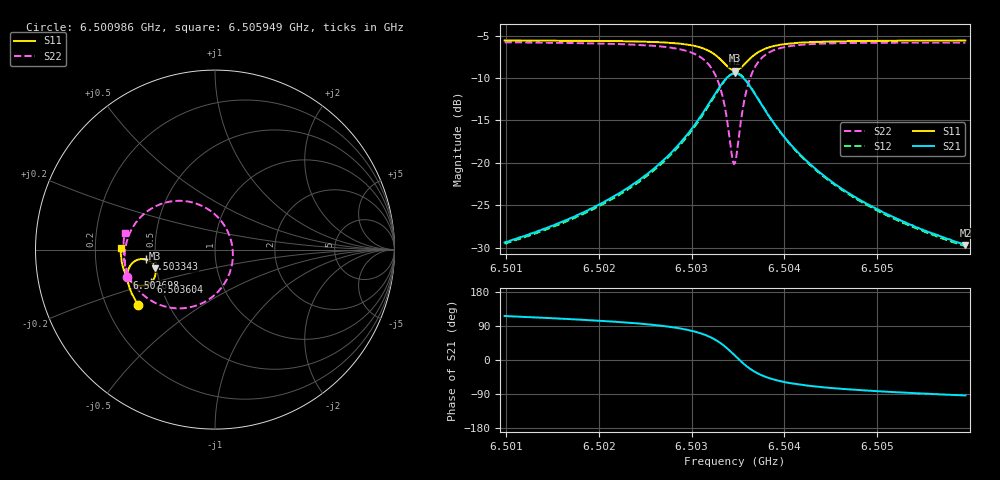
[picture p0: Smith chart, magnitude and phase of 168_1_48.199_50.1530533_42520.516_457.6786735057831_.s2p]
#  HZ  S  RI  R  50.00
! Rohde & Schwarz Vector Network Analyzer
! Rohde-Schwarz,ZNB20-2Port,1311601062101988,3.16
! Created: UTC 3/20/2024, 11:43:36 AM
! freq[Hz]  re:S11  im:S11  re:S21  im:S21  re:S12  im:S12  re:S22  im:S22
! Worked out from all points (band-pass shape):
!   401 points, 6.500986 GHz to 6.505949 GHz, reference 50 ohm
!   highest |S21| = -9.46 dB at 6.503467 GHz (marker M1); lowest = -29.7 dB at 6.505949 GHz (marker M2)
!   |S21| within 3 dB of the highest: 6.503219 GHz to 6.503715 GHz (496.2 kHz wide, 0.00763 % of centre)
!   lowest |S11| = -9.1 dB at 6.503467 GHz (marker M3), VSWR 2.08, Z = 24.5 - j5.86 ohm
!   |S11| at or under -10 dB: nowhere
!   |S22| runs from -20.2 to -5.8 dB; largest |S21 - S12| = 0.012
!   S11 on the Smith chart (normalised r, x): 6.500986 GHz: 0.34, -0.29; 6.502698 GHz: 0.33, -0.14; 6.503343 GHz: 0.44, -0.06; 6.503604 GHz: 0.45, -0.19; 6.505949 GHz: 0.31, +0.01
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6.5009858e9  -0.4279 -0.3068  -0.015 0.0305  -0.0132 0.0307  -0.4911 -0.1503
6.5018171e9  -0.4634 -0.245  -0.0142 0.0485  -0.0116 0.0481  -0.5037 -0.0612
6.5022638e9  -0.4789 -0.2052  -0.0113 0.0676  -0.00823 0.0664  -0.5005 0.0028
6.5026484e9  -0.4879 -0.1624  -0.00194 0.0982  0.00185 0.0957  -0.4797 0.0805
6.5026981e9  -0.4885 -0.1559  0.000726 0.104  0.00438 0.1012  -0.4744 0.0931
6.5029338e9  -0.4852 -0.1191  0.0232 0.1405  0.0269 0.1362  -0.4271 0.1673
6.5030951e9  -0.4707 -0.087  0.0623 0.1766  0.0652 0.1706  -0.351 0.2307
6.503244e9  -0.4333 -0.0573  0.1435 0.2052  0.1444 0.1986  -0.2027 0.272
6.5033432e9  -0.3872 -0.0544  0.2345 0.1887  0.2347 0.1837  -0.0452 0.2291
6.5034301e9  -0.3446 -0.0831  0.3124 0.1144  0.3146 0.1098  0.0788 0.0825
6.5034549e9  -0.3367 -0.0973  0.3258 0.0827  0.3287 0.0774  0.0956 0.0227
6.5034673e9  -0.3339 -0.105  0.3299 0.066  0.3332 0.0601  0.0993 -0.00833
6.5034921e9  -0.331 -0.1212  0.3333 0.0315  0.3369 0.0245  0.0968 -0.0714
6.5035293e9  -0.3332 -0.145  0.3259 -0.0185  0.329 -0.0275  0.0692 -0.1598
6.5036038e9  -0.3554 -0.1815  0.2795 -0.094  0.279 -0.1056  -0.0406 -0.2815
6.5037155e9  -0.4006 -0.2012  0.1931 -0.139  0.1876 -0.1487  -0.2153 -0.3272
6.5038768e9  -0.4475 -0.1915  0.1099 -0.1352  0.1026 -0.1404  -0.3654 -0.2786
6.5040505e9  -0.4752 -0.1702  0.0647 -0.1145  0.0583 -0.1166  -0.4382 -0.2123
6.5042986e9  -0.496 -0.1403  0.0343 -0.0895  0.0294 -0.0899  -0.482 -0.139
6.504646e9  -0.5107 -0.1035  0.0159 -0.067  0.0125 -0.0666  -0.5037 -0.0679
6.5051299e9  -0.5209 -0.0584  0.00495 -0.0489  0.00266 -0.0481  -0.5106 0.00227
6.5059488e9  -0.526 0.0111  -0.00201 -0.0328  -0.00338 -0.0321  -0.5028 0.0898
